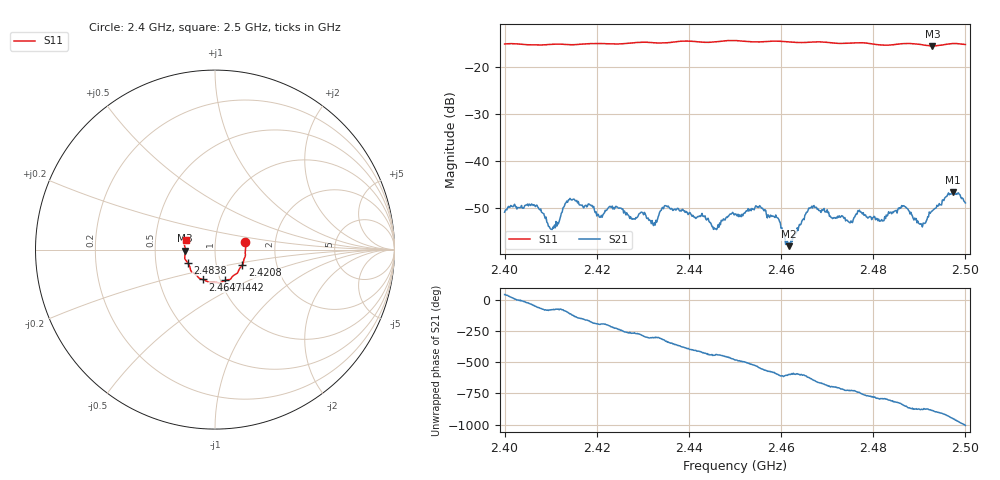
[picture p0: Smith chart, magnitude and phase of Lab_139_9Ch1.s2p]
# Hz S RI R 50
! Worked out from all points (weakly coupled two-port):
!   601 points, 2.4 GHz to 2.5 GHz, reference 50 ohm
!   highest |S21| = -46.55 dB at 2.4973 GHz (marker M1); lowest = -58.0 dB at 2.4617 GHz (marker M2)
!   lowest |S11| = -15.6 dB at 2.4928 GHz (marker M3), VSWR 1.40, Z = 35.8 - j0.382 ohm
!   |S11| at or under -10 dB: start of sweep to end of sweep
!   S12 and S22 are empty: the file has one direction only
!   S11 on the Smith chart (normalised r, x): 2.4 GHz: 1.40, +0.12; 2.4208 GHz: 1.33, -0.24; 2.4442 GHz: 1.05, -0.37; 2.4647 GHz: 0.83, -0.29; 2.4838 GHz: 0.73, -0.11; 2.5 GHz: 0.72, +0.08
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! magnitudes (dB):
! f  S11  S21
! 2.4 GHz  -15.2  -50.8
! 2.4065 GHz  -15.4  -49.3
! 2.4102 GHz  -15.3  -54.4
! 2.4138 GHz  -15.4  -48.2
! 2.4167 GHz  -15.3  -49.4
! 2.4208 GHz  -15.1  -51.9
! 2.4333 GHz  -15.0  -51.8
! 2.4352 GHz  -15.0  -49.5
! 2.4442 GHz  -14.9  -52.1
! 2.45 GHz  -14.5  -51.2
! 2.4555 GHz  -14.8  -49.6
! 2.4617 GHz  -14.8  -58.0
! 2.4647 GHz  -14.9  -52.4
! 2.4667 GHz  -14.8  -49.5
! 2.475 GHz  -15.0  -53.1
! 2.4833 GHz  -15.5  -50.7
! 2.4838 GHz  -15.4  -50.8
! 2.4867 GHz  -15.1  -49.5
! 2.4905 GHz  -15.4  -53.4
! 2.4928 GHz  -15.6  -50.5
! 2.4973 GHz  -15.1  -46.5
! 2.5 GHz  -15.3  -48.8
